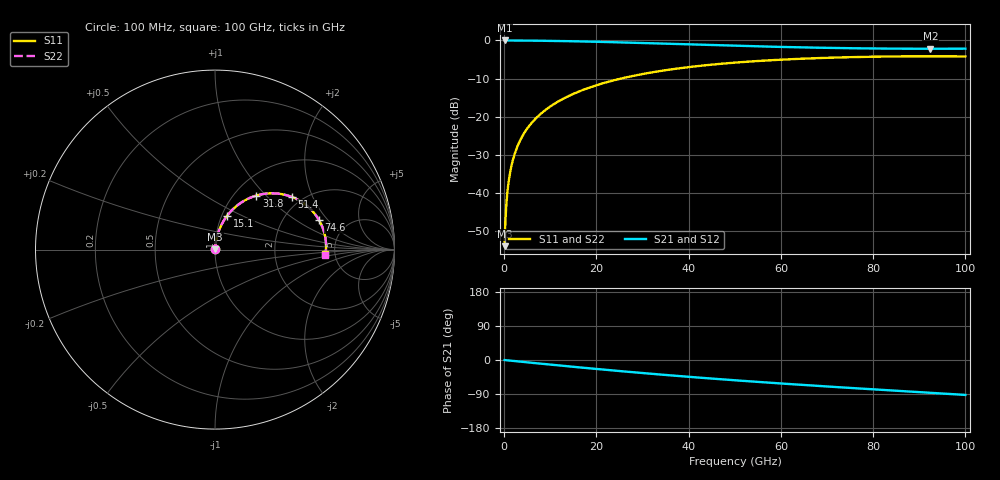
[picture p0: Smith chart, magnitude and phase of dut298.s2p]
! Touchstone file exported from HFSS 2026.1.0
!  File:  C:/ffzhzh/LocalFiles/Ansys_Project_Files/temp_train_RDL_298_1783502314_44152.aedt
!  Generated:  05:19:58 PM Jul  8, 2026
!  Design:  RDL
!  Project:  temp_train_RDL_298_1783502314_44152
! Variables:
!  h_bsmrdl = 2um
!  h_ox = 20um
!  h_rdl = 5um
!  h_sub = 80um
!  h_tmrdl = 4.72um
!  h_tsv = 80um
!  h_via = 3um
!  l_bsmrdl = 300um
!  l_sub = 692.78um
!  l_tmrdl = 292.78um
!  m_sub = 200um
!  pitch = 52.71um
!  r_tsv = 6um
!  s_tmrdl = 10um
!  w_bsmrdl = 18um
!  w_sub = 500um
!  w_tmrdl = 18.64um
!  x_tsv_center1 = 302.1um
!  x_tsv_center2 = 620.1um
!  x_tsv_center3 = 931.52um
!  x_tsv_center4 = 1249.52um
!  x_tsv_center5 = 1560.94um
!  x_tsv_center6 = 1878.94um
# GHz S MA R 50.000000
! Terminal data exported
! Port[1] = TM_RDL1_1_T1
! Port[2] = TM_RDL1_1_T2
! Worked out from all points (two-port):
!   1000 points, 100 MHz to 100 GHz, reference 50 ohm
!   highest |S21| = -0.01 dB at 100 MHz (marker M1); lowest = -2.2 dB at 92.4 GHz (marker M2)
!   |S21| within 3 dB of the highest: start of sweep to end of sweep
!   lowest |S11| = -54.0 dB at 100 MHz (marker M3), VSWR 1.00, Z = 50.1 + j0.15 ohm
!   |S11| at or under -10 dB: start of sweep to 25.36 GHz
!   |S22| runs from -54.0 to -4.2 dB; largest |S21 - S12| = 3.1e-15
!   S11 on the Smith chart (normalised r, x): 100 MHz: 1.00, +0.00; 15.1 GHz: 1.06, +0.42; 31.8 GHz: 1.25, +0.88; 51.4 GHz: 1.77, +1.42; 74.6 GHz: 3.11, +1.62; 100 GHz: 4.17, -0.36
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0.1  0.001998 48.7  0.9987 -0.1  0.9987 -0.1  0.001998 48.7
! Gamma 0 0 0 0
! Port Impedance 50 0 50 0
0.8  0.01157 81.2  0.9984 -1.0  0.9984 -1.0  0.01157 81.2
1  0.01437 82.3  0.9983 -1.3  0.9983 -1.3  0.01437 82.3
1.3  0.01859 83.2  0.9981 -1.6  0.9981 -1.6  0.01859 83.2
1.7  0.02421 83.6  0.9979 -2.1  0.9979 -2.1  0.02421 83.6
2.2  0.03122 83.7  0.9976 -2.7  0.9976 -2.7  0.03122 83.7
3.6  0.05065 82.8  0.9963 -4.5  0.9963 -4.5  0.05065 82.8
5.5  0.07654 80.8  0.9939 -6.8  0.9939 -6.8  0.07654 80.8
8  0.1098 78.1  0.9899 -9.8  0.9899 -9.8  0.1098 78.1
11.2  0.1513 74.6  0.9837 -13.5  0.9837 -13.5  0.1513 74.6
15.1  0.2001 70.3  0.9742 -18.1  0.9742 -18.1  0.2001 70.3
16.8  0.2206 68.5  0.9695 -20.0  0.9695 -20.0  0.2206 68.4
23.6  0.2977 61.1  0.948 -27.6  0.948 -27.6  0.2977 61.1
31.8  0.3788 52.6  0.9181 -36.3  0.9181 -36.3  0.3788 52.6
33.4  0.393 51.0  0.9121 -37.9  0.9121 -37.9  0.393 51.0
50.1  0.5116 35.6  0.8513 -53.6  0.8513 -53.6  0.5117 35.6
51.4  0.5187 34.5  0.847 -54.7  0.847 -54.7  0.5188 34.4
66.7  0.5821 22.0  0.8053 -67.3  0.8053 -67.3  0.5821 22.0
74.6  0.6019 16.0  0.7907 -73.4  0.7907 -73.4  0.602 16.0
83.4  0.6151 9.6  0.7806 -79.9  0.7806 -79.9  0.6152 9.5
92.4  0.6193 3.0  0.7771 -86.6  0.7771 -86.6  0.6194 3.0
100  0.6158 -2.5  0.7796 -92.2  0.7796 -92.2  0.616 -2.5
